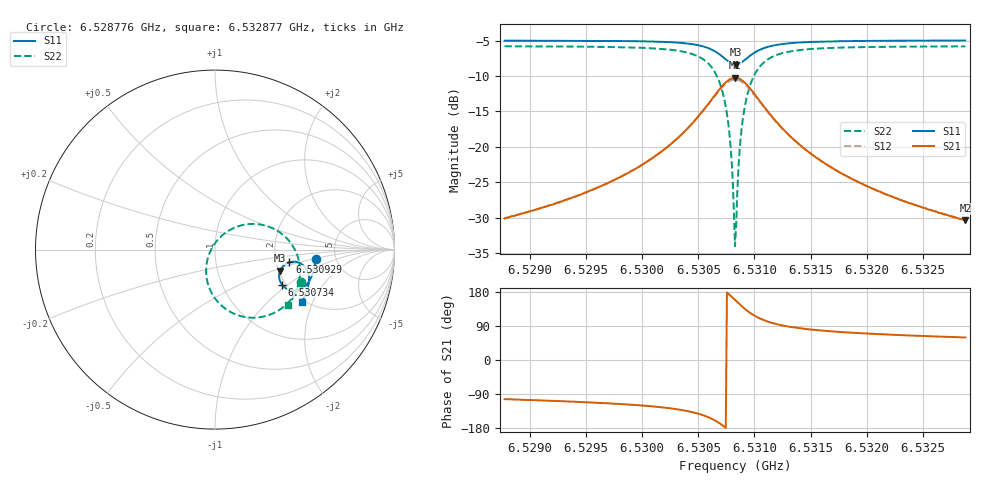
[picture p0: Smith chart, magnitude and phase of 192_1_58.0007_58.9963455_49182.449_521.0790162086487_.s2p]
#  HZ  S  RI  R  50.00
! Rohde & Schwarz Vector Network Analyzer
! Rohde-Schwarz,ZNB20-2Port,1311601062101988,3.16
! Created: UTC 3/21/2024, 12:58:52 AM
! freq[Hz]  re:S11  im:S11  re:S21  im:S21  re:S12  im:S12  re:S22  im:S22
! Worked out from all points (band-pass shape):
!   401 points, 6.528776 GHz to 6.532877 GHz, reference 50 ohm
!   highest |S21| = -10.23 dB at 6.530827 GHz (marker M1); lowest = -30.3 dB at 6.532877 GHz (marker M2)
!   |S21| within 3 dB of the highest: 6.530622 GHz to 6.531033 GHz (410.3 kHz wide, 0.00628 % of centre)
!   lowest |S11| = -8.4 dB at 6.530837 GHz (marker M3), VSWR 2.23, Z = 102 - j28 ohm
!   |S11| at or under -10 dB: nowhere
!   |S22| runs from -34.0 to -5.8 dB; largest |S21 - S12| = 0.012
!   S11 on the Smith chart (normalised r, x): 6.528776 GHz: 3.49, -0.51; 6.530734 GHz: 1.91, -0.91; 6.530929 GHz: 2.37, -0.41; 6.532877 GHz: 1.92, -1.66
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6.5287764e9  0.5605 -0.0502  -0.00717 -0.0303  -0.00788 -0.0303  0.4815 -0.1782
6.5294632e9  0.5513 -0.1077  -0.0166 -0.0433  -0.0177 -0.043  0.4497 -0.2413
6.53015e9  0.5242 -0.1769  -0.0505 -0.0744  -0.0527 -0.073  0.3669 -0.3302
6.5303858e9  0.4976 -0.2072  -0.0902 -0.0941  -0.093 -0.0908  0.2854 -0.3693
6.53056e9  0.454 -0.2272  -0.1586 -0.1008  -0.1611 -0.094  0.159 -0.3744
6.5306626e9  0.4089 -0.2225  -0.2285 -0.0744  -0.2278 -0.0644  0.0419 -0.3168
6.5307343e9  0.3735 -0.1955  -0.2801 -0.0156  -0.2742 -0.00543  -0.0336 -0.2083
6.5307753e9  0.36 -0.1676  -0.2963 0.0375  -0.2872 0.0457  -0.0498 -0.1175
6.5307856e9  0.3583 -0.1596  -0.2972 0.0523  -0.2875 0.0598  -0.0485 -0.0927
6.5308163e9  0.3584 -0.1341  -0.2916 0.0981  -0.2806 0.1029  -0.0303 -0.0191
6.5308266e9  0.3604 -0.1257  -0.2865 0.113  -0.2754 0.1167  -0.0194 0.0045
6.5308368e9  0.3631 -0.1175  -0.2802 0.1274  -0.2691 0.1302  -0.00609 0.0267
6.5308471e9  0.3667 -0.1097  -0.2724 0.1411  -0.2614 0.1428  0.00911 0.0474
6.5308778e9  0.3819 -0.0896  -0.2425 0.1755  -0.2325 0.1748  0.0647 0.0981
6.5308983e9  0.3944 -0.0796  -0.219 0.1924  -0.2101 0.1904  0.1067 0.1213
6.5309291e9  0.4149 -0.0703  -0.1819 0.2079  -0.175 0.2049  0.1706 0.1399
6.5310008e9  0.4581 -0.0695  -0.1061 0.2104  -0.1026 0.2072  0.2976 0.1285
6.5311033e9  0.4961 -0.0912  -0.0411 0.1795  -0.0393 0.1777  0.4025 0.0604
6.5312571e9  0.5185 -0.1271  -0.00145 0.1328  -0.000272 0.1321  0.4598 -0.0357
6.5315134e9  0.5244 -0.1707  0.0153 0.0867  0.0165 0.0865  0.4737 -0.1333
6.5322002e9  0.5072 -0.2423  0.0177 0.0417  0.0185 0.0413  0.4441 -0.2494
6.5328767e9  0.4822 -0.2937  0.0154 0.0262  0.016 0.0259  0.4091 -0.3093
